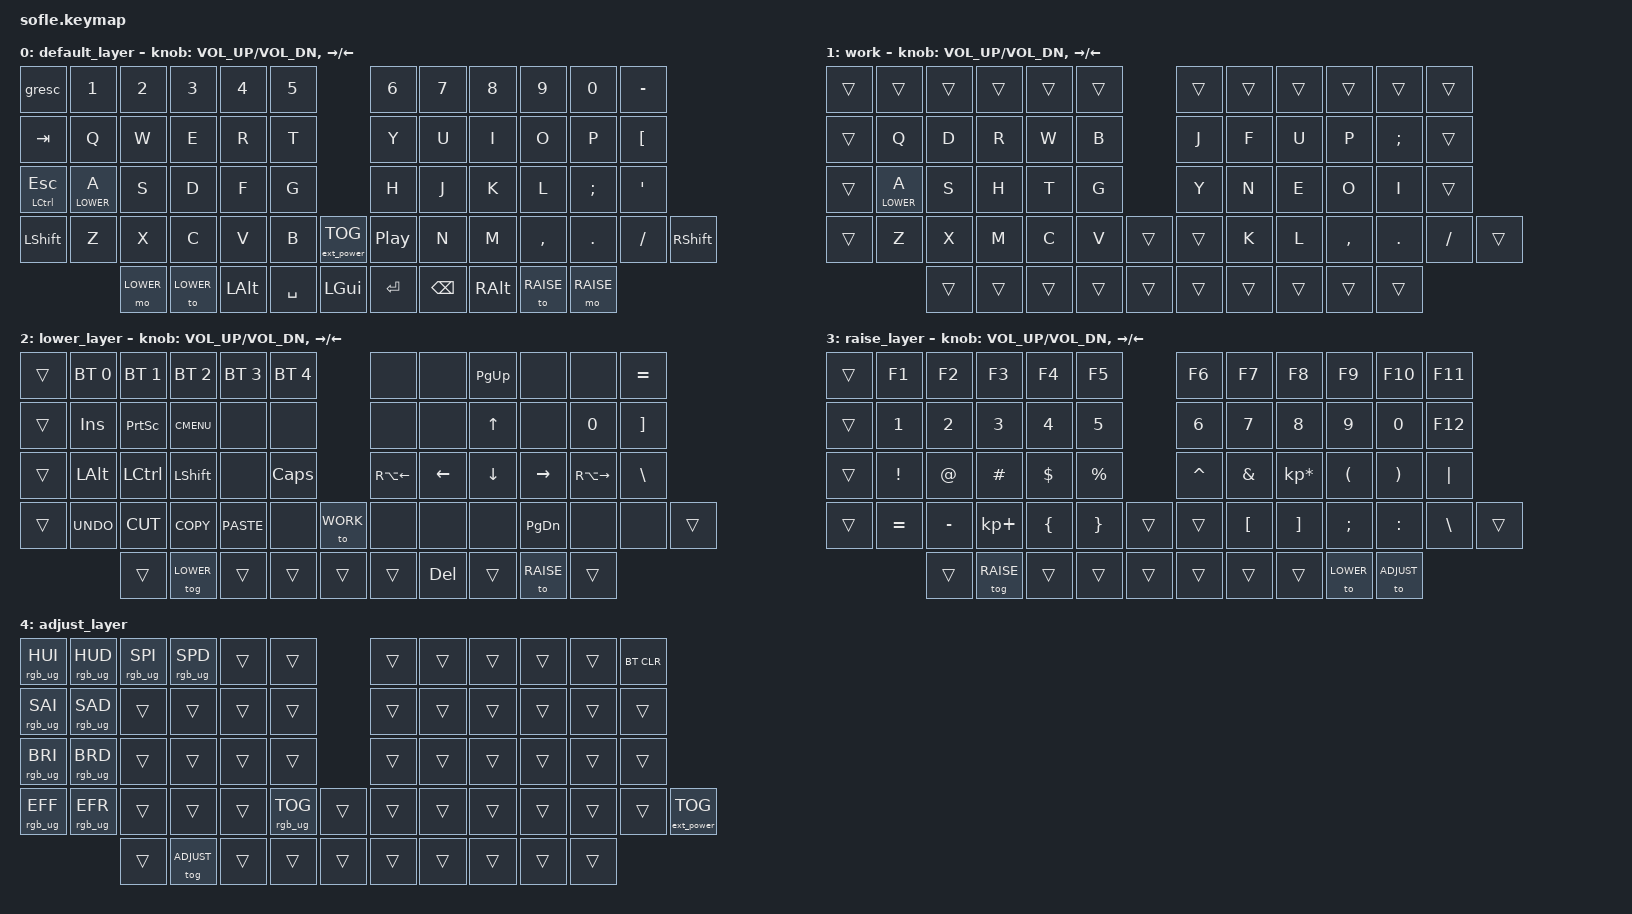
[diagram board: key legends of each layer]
/*
 * Copyright (c) 2020 The ZMK Contributors
 *
 * SPDX-License-Identifier: MIT
 */

#include <behaviors.dtsi>
#include <dt-bindings/zmk/keys.h>
#include <dt-bindings/zmk/bt.h>
#include <dt-bindings/zmk/ext_power.h>
#include <dt-bindings/zmk/rgb.h>

#define BASE 0
#define WORK 1
#define LOWER 2
#define RAISE 3
#define ADJUST 4

/*
 * Temporarily here because nice nano v2 spi is not defined on ZMK Yet
 * Source: https://github.com/zmkfirmware/zmk/blob/main/app/boards/shields/reviung41/boards/nice_nano.overlay
 * GitHub Issue: https://github.com/zmkfirmware/zmk/issues/885
 */

#include <dt-bindings/led/led.h>

&pinctrl {
    spi3_default: spi3_default {
        group1 {
            psels = <NRF_PSEL(SPIM_MOSI, 0, 8)>;
        };
    };

    spi3_sleep: spi3_sleep {
        group1 {
            psels = <NRF_PSEL(SPIM_MOSI, 0, 8)>;
            low-power-enable;
        };
    };
};

&spi3 {
    compatible = "nordic,nrf-spim";
    status = "okay";

    pinctrl-0 = <&spi3_default>;
    pinctrl-1 = <&spi3_sleep>;
    pinctrl-names = "default", "sleep";

    led_strip: ws2812@0 {
        compatible = "worldsemi,ws2812-spi";
        label = "WS2812";

        /* SPI */
        reg = <0>; /* ignored, but necessary for SPI bindings */
        spi-max-frequency = <4000000>;

        /* WS2812 */
        chain-length = <30>;
        spi-one-frame = <0x70>;
        spi-zero-frame = <0x40>;

        color-mapping = <LED_COLOR_ID_GREEN LED_COLOR_ID_RED LED_COLOR_ID_BLUE>;
    };
};

&lt {
    tapping-term-ms = <300>;
};

/ {
    chosen {
        zmk,underglow = &led_strip;
    };
};

/* END temporary RGB support section */

/ {

    // Activate ADJUST layer by pressing raise and lower
    conditional_layers {
        compatible = "zmk,conditional-layers";
        adjust_layer {
            if-layers = <LOWER RAISE>;
            then-layer = <ADJUST>;
        };
    };
//    sensors {
//         compatible = "zmk,keymap-sensors";
//         sensors = <&left_encoder &right_encoder>;
//         triggers-per-rotation = <1>;
//     };

    keymap {
        compatible = "zmk,keymap";

        default_layer {
// ------------------------------------------------------------------------------------------------------------
// | GESC  |  1  |  2  |  3   |  4   |  5   |                   |  6   |  7    |  8    |  9   |   0   |  -_   |
// |  TAB  |  Q  |  W  |  E   |  R   |  T   |                   |  Y   |  U    |  I    |  O   |   P   |  [{   |
// |  CTRL |  A  |  S  |  D   |  F   |  G   |                   |  H   |  J    |  K    |  L   |   ;   |   '   |
// | SHIFT |  Z  |  X  |  C   |  V   |  B   |  MUTE  |  | !PLAY |  N   |  M    |  ,    |  .   |   /   | SHIFT |
//               | GUI | ALT  | CTRL | LOWER|  ENTER |  | RETURN| BSPC | ALT   | ALT   | RAISE|
            bindings = <
&gresc    &kp N1       &kp N2    &kp N3    &kp N4    &kp N5                          &kp N6    &kp N7   &kp N8    &kp N9    &kp N0   &kp MINUS
&kp TAB   &kp Q        &kp W     &kp E     &kp R     &kp T                           &kp Y     &kp U    &kp I     &kp O     &kp P    &kp LBKT
&mt LCTRL ESC &lt LOWER A  &kp S    &kp D     &kp F     &kp G                           &kp H     &kp J    &kp K     &kp L     &kp SEMI &kp SQT
&kp LSHFT &kp Z        &kp X     &kp C     &kp V     &kp B      &ext_power EP_TOG  &kp C_PP    &kp N    &kp M     &kp COMMA &kp PERIOD  &kp FSLH &kp RSHFT
                       &mo LOWER &to LOWER &kp LALT  &kp SPACE  &kp LGUI           &kp RET     &kp BSPC &kp RALT  &to RAISE &mo RAISE
            >;

            sensor-bindings = <&inc_dec_kp C_VOL_UP C_VOL_DN &inc_dec_kp RIGHT LEFT>;
        };

        work {
            bindings = <
&trans    &trans       &trans    &trans   &trans    &trans                      &trans    &trans   &trans    &trans   &trans   &trans
&trans    &kp Q        &kp D     &kp R    &kp W     &kp B                       &kp J     &kp F    &kp U     &kp P    &kp SEMI &trans
&trans    &lt LOWER A  &kp S     &kp H    &kp T     &kp G                       &kp Y     &kp N    &kp E     &kp O    &kp I    &trans
&trans    &kp Z        &kp X     &kp M    &kp C     &kp V  &trans       &trans  &kp K     &kp L    &kp COMMA &kp PERIOD  &kp FSLH &trans
                       &trans    &trans   &trans    &trans &trans       &trans  &trans    &trans   &trans    &trans
            >;

            sensor-bindings = <&inc_dec_kp C_VOL_UP C_VOL_DN &inc_dec_kp RIGHT LEFT>;
        };

        lower_layer {
// ------------------------------------------------------------------------------------------------------------
// |     | BT1  | BT2  |  BT3  |  BT4  |  BT5 |                |      |      |       |      |       |    =+ |
// |     | INS  | PSCR | GUI   |       |      |                | PGUP |      |   ^   |      |       |    ]} |
// |     | ALT  | CTRL | SHIFT |       | CAPS |                | PGDN |   <- |   v   |  ->  |       |   \|  |
// |     | UNDO | CUT  | COPY  | PASTE |      |      |  |      |      |      |       |      |       |       |
//              |      |       |       |      |      |  |      | DEL  |      |       |      |
            bindings = <
&trans     &bt BT_SEL 0 &bt BT_SEL 1 &bt BT_SEL 2 &bt BT_SEL 3 &bt BT_SEL 4             &none          &none     &kp PG_UP &none     &none   &kp EQUAL 
&trans     &kp INS      &kp PSCRN    &kp K_CMENU  &none        &none                    &none          &none     &kp UP    &none     &kp N0  &kp RBKT 
&trans     &kp LALT     &kp LCTRL    &kp LSHFT    &none        &kp CLCK                 &kp RA(LEFT) &kp LEFT  &kp DOWN  &kp RIGHT &kp RA(RIGHT)   &kp BSLH
&trans     &kp K_UNDO   &kp K_CUT    &kp K_COPY   &kp K_PASTE  &none   &to WORK    &none   &none          &none     &kp PG_DN     &none     &none   &trans 
                        &trans       &tog LOWER     &trans       &trans  &trans   &trans  &kp DEL        &trans    &to RAISE &trans 
            >;

            sensor-bindings = <&inc_dec_kp C_VOL_UP C_VOL_DN &inc_dec_kp RIGHT LEFT>;
        };

        raise_layer {
// TODO: Some binds are waiting for shifted keycode support.
// ------------------------------------------------------------------------------------------------------------
// | `     |  F1 |  F2 |  F3  |  F4  |  F5  |                   |  F6  |  F7   |  F8   |  F9  |  F10  |  F11  |
// |       |   1 |   2 |   3  |   4  |   5  |                   |   6  |   7   |   8   |   9  |    0  |  F12  |
// |       |  !  |  @  |  #   |  $   |  %   |                   |  ^   |  &    |  *    |  (   |   )   |   |   |
// |       |  =  |  -  |  +   |  {   |  }   |        |  |       |  [   |  ]    |  ;    |  :   |   \   |       |
//               |     |      |      |      |        |  |       |      |       |       |      |
            bindings = <
&trans    &kp F1    &kp F2    &kp F3      &kp F4    &kp F5                    &kp F6    &kp F7   &kp F8          &kp F9    &kp F10   &kp F11
&trans    &kp N1    &kp N2    &kp N3      &kp N4    &kp N5                    &kp N6    &kp N7   &kp N8          &kp N9    &kp N0    &kp F12
&trans    &kp EXCL  &kp AT    &kp HASH    &kp DLLR  &kp PRCNT                 &kp CARET &kp AMPS &kp KP_MULTIPLY &kp LPAR  &kp RPAR  &kp PIPE
&trans    &kp EQUAL &kp MINUS &kp KP_PLUS &kp LBRC  &kp RBRC  &trans   &trans &kp LBKT  &kp RBKT &kp SEMICOLON   &kp COLON &kp BSLH  &trans
                    &trans    &tog RAISE    &trans    &trans    &trans   &trans &trans    &trans   &to LOWER       &to ADJUST
            >;

            sensor-bindings = <&inc_dec_kp C_VOL_UP C_VOL_DN &inc_dec_kp RIGHT LEFT>;
        };

        adjust_layer {
// -------------------------------------------------------------------------------------------------------------
// | hue+ | hue- | fast | slow  |       |       |                |      |      |       |      |       |        |
// | sat+ | sat- |      |       |       |       |                |      |      |       |      |       |        |
// |bright| dim  |      |       |       |       |                |      |      |       |      |       |        |
// | fx+  | fx+  |      |       |       |rgb tog|      |  |      |      |      |       |      |       | EP_TOG |
//               |      |       |       |       |      |  |      |      |      |       |      |

            bindings = <
&rgb_ug RGB_HUI  &rgb_ug RGB_HUD  &rgb_ug RGB_SPI  &rgb_ug RGB_SPD  &trans  &trans                             &trans        &trans        &trans        &trans        &trans        &bt BT_CLR
&rgb_ug RGB_SAI  &rgb_ug RGB_SAD  &trans           &trans           &trans  &trans                             &trans        &trans        &trans        &trans        &trans        &trans
&rgb_ug RGB_BRI  &rgb_ug RGB_BRD  &trans           &trans           &trans  &trans                             &trans        &trans        &trans        &trans        &trans        &trans
&rgb_ug RGB_EFF  &rgb_ug RGB_EFR  &trans           &trans           &trans  &rgb_ug RGB_TOG  &trans    &trans  &trans        &trans        &trans        &trans        &trans        &ext_power EP_TOG
                                  &trans           &tog ADJUST         &trans  &trans           &trans    &trans  &trans        &trans        &trans        &trans
            >;
        };
    };
};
